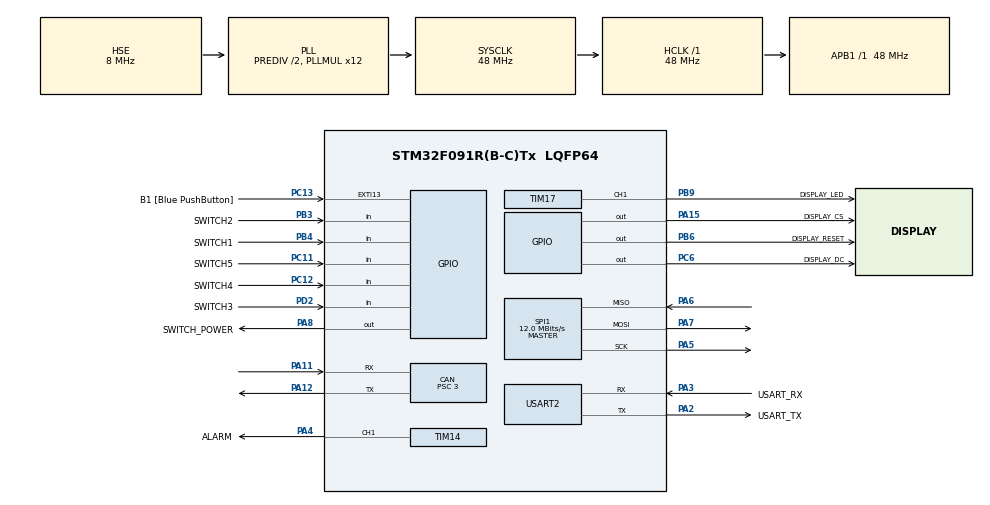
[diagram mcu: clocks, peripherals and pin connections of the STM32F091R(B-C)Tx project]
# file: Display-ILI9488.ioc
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CAN.BS1=CAN_BS1_11TQ
CAN.BS2=CAN_BS2_4TQ
CAN.CalculateBaudRate=1000000
CAN.CalculateTimeBit=1000
CAN.CalculateTimeQuantum=62.5
CAN.NART=ENABLE
CAN.Prescaler=3
CAN.SJW=CAN_SJW_2TQ
Dma.Request0=USART2_RX
Dma.Request1=SPI1_TX
Dma.SPI1_TX.1.Direction=DMA_MEMORY_TO_PERIPH
Dma.SPI1_TX.1.Instance=DMA1_Channel3
Dma.SPI1_TX.1.MemDataAlignment=DMA_MDATAALIGN_BYTE
Dma.SPI1_TX.1.MemInc=DMA_MINC_ENABLE
Dma.SPI1_TX.1.Mode=DMA_NORMAL
Dma.SPI1_TX.1.PeriphDataAlignment=DMA_PDATAALIGN_BYTE
Dma.SPI1_TX.1.PeriphInc=DMA_PINC_DISABLE
Dma.SPI1_TX.1.Priority=DMA_PRIORITY_LOW
Dma.USART2_RX.0.Direction=DMA_PERIPH_TO_MEMORY
Dma.USART2_RX.0.Instance=DMA1_Channel1
Dma.USART2_RX.0.MemDataAlignment=DMA_MDATAALIGN_BYTE
Dma.USART2_RX.0.MemInc=DMA_MINC_ENABLE
Dma.USART2_RX.0.Mode=DMA_NORMAL
Dma.USART2_RX.0.PeriphDataAlignment=DMA_PDATAALIGN_BYTE
Dma.USART2_RX.0.PeriphInc=DMA_PINC_DISABLE
Dma.USART2_RX.0.Priority=DMA_PRIORITY_LOW
Mcu.Family=STM32F0
Mcu.Name=STM32F091R(B-C)Tx
Mcu.Package=LQFP64
NVIC.CEC_CAN_IRQn=true\:0\:0\:false\:false\:true\:true\:true\:true
NVIC.DMA1_Ch1_IRQn=true\:0\:0\:false\:false\:true\:false\:true\:true
NVIC.DMA1_Ch2_3_DMA2_Ch1_2_IRQn=true\:0\:0\:false\:false\:true\:false\:true\:true
NVIC.TIM2_IRQn=true\:0\:0\:false\:false\:true\:true\:true\:true
NVIC.USART2_IRQn=true\:0\:0\:false\:false\:true\:true\:true\:true
PA11.Mode=CAN_Activate
PA11.Signal=CAN_RX
PA12.Mode=CAN_Activate
PA12.Signal=CAN_TX
PA13.GPIO_Label=TMS
PA13.Mode=Serial_Wire
PA13.Signal=SYS_SWDIO
PA14.GPIO_Label=TCK
PA14.Mode=Serial_Wire
PA14.Signal=SYS_SWCLK
PA15.GPIO_Label=DISPLAY_CS
PA15.Signal=GPIO_Output
PA2.GPIO_Label=USART_TX
PA2.GPIO_Mode=GPIO_MODE_AF_PP
PA2.GPIO_PuPd=GPIO_NOPULL
PA2.GPIO_Speed=GPIO_SPEED_FREQ_LOW
PA2.Mode=Asynchronous
PA2.Signal=USART2_TX
PA3.GPIO_Label=USART_RX
PA3.GPIO_Mode=GPIO_MODE_AF_PP
PA3.GPIO_PuPd=GPIO_NOPULL
PA3.GPIO_Speed=GPIO_SPEED_FREQ_LOW
PA3.Mode=Asynchronous
PA3.Signal=USART2_RX
PA4.GPIO_Label=ALARM
PA4.Signal=S_TIM14_CH1
PA5.Mode=Full_Duplex_Master
PA5.Signal=SPI1_SCK
PA6.Mode=Full_Duplex_Master
PA6.Signal=SPI1_MISO
PA7.Mode=Full_Duplex_Master
PA7.Signal=SPI1_MOSI
PA8.GPIO_Label=SWITCH_POWER
PA8.Signal=GPIO_Output
PB3.GPIO_Label=SWITCH2
PB3.Signal=GPIO_Input
PB4.GPIO_Label=SWITCH1
PB4.Signal=GPIO_Input
PB6.GPIO_Label=DISPLAY_RESET
PB6.Signal=GPIO_Output
PB9.GPIO_Label=DISPLAY_LED
PB9.Signal=S_TIM17_CH1
PC11.GPIO_Label=SWITCH5
PC11.Signal=GPIO_Input
PC12.GPIO_Label=SWITCH4
PC12.Signal=GPIO_Input
PC13.GPIO_Label=B1 [Blue PushButton]
PC13.GPIO_ModeDefaultEXTI=GPIO_MODE_IT_FALLING
PC13.Signal=GPXTI13
PC14OSC32_IN.Mode=LSE-External-Oscillator
PC14OSC32_IN.Signal=RCC_OSC32_IN
PC15OSC32_OUT.Mode=LSE-External-Oscillator
PC15OSC32_OUT.Signal=RCC_OSC32_OUT
PC6.GPIO_Label=DISPLAY_DC
PC6.Signal=GPIO_Output
PD2.GPIO_Label=SWITCH3
PD2.Signal=GPIO_Input
PF0-OSC_IN.Mode=HSE-External-Clock-Source
PF0-OSC_IN.Signal=RCC_OSC_IN
PF1-OSC_OUT.Signal=RCC_OSC_OUT
ProjectManager.HeapSize=0x200
ProjectManager.StackSize=0x400
ProjectManager.TargetToolchain=STM32CubeIDE
RCC.AHBFreq_Value=48000000
RCC.APB1Freq_Value=48000000
RCC.APB1TimFreq_Value=48000000
RCC.FLatency-AdvancedSettings=FLASH_LATENCY_1
RCC.HCLKFreq_Value=48000000
RCC.PLLDivider=RCC_PREDIV_DIV2
RCC.PLLMUL=RCC_PLL_MUL12
RCC.PLLSourceVirtual=RCC_PLLSOURCE_HSE
RCC.PREFETCH_ENABLE-AdvancedSettings=1
RCC.SYSCLKFreq_VALUE=48000000
RCC.SYSCLKSource=RCC_SYSCLKSOURCE_PLLCLK
SH.S_TIM14_CH1.0=TIM14_CH1,PWM Generation1 CH1
SH.S_TIM17_CH1.0=TIM17_CH1,PWM Generation1 CH1
SPI1.BaudRatePrescaler=SPI_BAUDRATEPRESCALER_4
SPI1.CalculateBaudRate=12.0 MBits/s
SPI1.DataSize=SPI_DATASIZE_8BIT
SPI1.Direction=SPI_DIRECTION_2LINES
SPI1.Mode=SPI_MODE_MASTER
SPI1.VirtualType=VM_MASTER
TIM14.Channel=TIM_CHANNEL_1
TIM14.Period=3332
TIM14.Prescaler=0
TIM14.Pulse=1667
TIM17.Channel=TIM_CHANNEL_1
TIM17.Period=255
TIM17.Prescaler=39
TIM17.Pulse=128
TIM2.AutoReloadPreload=TIM_AUTORELOAD_PRELOAD_ENABLE
TIM2.Period=99
TIM2.Prescaler=47999
USART2.VirtualMode=VM_ASYNC
USART2.VirtualMode-Asynchronous=VM_ASYNC
VP_TIM14_VS_ClockSourceINT.Mode=Enable_Timer
VP_TIM17_VS_ClockSourceINT.Mode=Enable_Timer
VP_TIM2_VS_ClockSourceINT.Mode=Internal
board=NUCLEO-F091RC

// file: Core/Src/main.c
/* USER CODE BEGIN Header */
/**
 ******************************************************************************
 * @file           : main.c
 * @brief          : Main program body
 ******************************************************************************
 * @attention
 *
 * Copyright (c) 2026 STMicroelectronics.
 * All rights reserved.
 *
 * This software is licensed under terms that can be found in the LICENSE file
 * in the root directory of this software component.
 * If no LICENSE file comes with this software, it is provided AS-IS.
 *
 ******************************************************************************
 */
/* USER CODE END Header */
#include "main.h"

/* USER CODE BEGIN Includes */
#include "File_002_ObjNum_001_NEW_6_17_26.h"
#include "File_005_ObjNum_004_480x320_6_18_26.h"
#include "File_006_ObjNum_005_480x320_6_18_26_C.h"
#include "File_007_ObjNum_006_480x320_6_18_26.h"
#include "File_008_ObjNum_007_96x190_6_18_26.h"
#include "File_009_ObjNum_008_96x190_6_18_26.h"
#include "File_010_ObjNum_009_96x190_6_18_26.h"
#include "File_011_ObjNum_010_96x190_6_18_26.h"
#include "File_012_ObjNum_011_96x190_6_18_26.h"
#include "File_013_ObjNum_012_96x190_6_18_26.h"
#include "File_014_ObjNum_013_96x190_6_18_26.h"
#include "File_015_ObjNum_014_96x190_6_18_26.h"
#include "File_016_ObjNum_015_96x190_6_18_26.h"
#include "File_017_ObjNum_016_96x190_6_18_26.h"
#include "File_018_ObjNum_017_96x190_6_16_26.h"
#include "File_019_ObjNum_018_48x208_6_19_26.h"
#include "File_020_ObjNum_019_48x208_6_19_26.h"
#include "File_021_ObjNum_020_48x208_6_19_26.h"
#include "File_022_ObjNum_021_48x208_6_19_26.h"
#include "File_023_ObjNum_022_48x208_6_19_26.h"
#include "File_024_ObjNum_023_48x208_6_19_26.h"
#include "File_025_ObjNum_024_48x208_6_19_26.h"
#include "File_026_ObjNum_025_48x208_6_19_26.h"
#include "File_027_ObjNum_026_48x208_6_19_26.h"
#include "File_028_ObjNum_027_48x208_6_19_26.h"
#include "File_029_ObjNum_028_48x208_6_19_26.h"
#include "File_030_ObjNum_029_64x25_6_19_26.h"
#include "File_031_ObjNum_030_64x25_6_19_26.h"
#include "File_032_ObjNum_031_96x190_6_19_26.h"
#include "File_033_ObjNum_032_96x190_6_19_26.h"
#include "File_034_ObjNum_033_96x190_6_19_26.h"
#include "File_035_ObjNum_034_96x190_6_19_26.h"
#include "File_036_ObjNum_035_96x190_6_19_26.h"
#include "File_037_ObjNum_036_96x190_6_19_26.h"
#include "File_038_ObjNum_037_96x190_6_19_26.h"
#include "File_039_ObjNum_038_96x190_6_19_26.h"
#include "File_040_ObjNum_039_96x190_6_19_26.h"
#include "File_041_ObjNum_040_96x190_6_19_26.h"
#include "File_042_ObjNum_041_96x190_6_19_26.h"
#include "File_043_ObjNum_042_144x208_6_19_26.h"
#include "File_044_ObjNum_043_144x208_6_19_26.h"
#include "File_045_ObjNum_044_144x208_6_19_26.h"
#include "File_046_ObjNum_045_144x208_6_19_26.h"
#include "File_047_ObjNum_046_144x208_6_19_26.h"
#include "File_048_ObjNum_052_144x183_6_19_26.h"
#include "File_049_ObjNum_053_144x183_6_19_26.h"
#include "File_050_ObjNum_054_144x183_6_19_26.h"
#include "File_051_ObjNum_055_144x183_6_19_26.h"
#include "File_052_ObjNum_057_144x30_6_19_26.h"
#include "File_053_ObjNum_077_48x30_6_19_26.h"
#include "File_054_ObjNum_087_48x255_6_19_26.h"
#include "File_055_ObjNum_090_480x320_6_18_26.h"
#include "File_056_ObjNum_091_480x320_6_18_26.h"
#include "File_057_ObjNum_092_480x320_6_18_26.h"
#include "File_058_ObjNum_093_480x320_6_18_26.h"
#include "File_059_ObjNum_094_480x320_6_18_26.h"
#include "File_062_ObjNum_097_480x40_6_19_26.h"
#include "File_063_ObjNum_098_176x33_6_19_26.h"
#include "File_064_ObjNum_099_48x63_6_19_26.h"
#include "File_065_ObjNum_104_16x30_6_19_26.h"
#include "File_066_ObjNum_109_96x80_6_19_26.h"
#include "File_067_ObjNum_114_64x103_6_19_26.h"
#include "File_068_ObjNum_119_64x103_6_19_26.h"
#include "File_069_ObjNum_124_64x103_6_19_26.h"
#include "File_070_ObjNum_129_96x80_6_19_26.h"
#include "File_071_ObjNum_134_176x188_6_19_26.h"
#include "File_072_ObjNum_135_480x320_6_18_26.h"
#include "File_073_ObjNum_136_480x320_6_18_26.h"
#include "File_074_ObjNum_138_48x143_6_19_26.h"
#include "File_075_ObjNum_140_368x40_6_19_26.h"
#include "File_076_ObjNum_143_368x40_6_19_26.h"
#include "File_077_ObjNum_147_480x320_6_18_26.h"
#include "File_078_ObjNum_148_480x320_6_18_26.h"
#include "File_079_ObjNum_149_480x320_6_17_26.h"
#include "SYSFAIL_480x320.h"
#include "alarm.h"
#include "commands-can.h"
#include "commands-usart.h"
#include "display-ili9488.h"
#include "font.h"
#include "stm32f0xx_hal.h"
#include "stm32f0xx_hal_tim.h"
#include "switches.h"

/* USER CODE END Includes */

CAN_HandleTypeDef hcan;

SPI_HandleTypeDef hspi1;
DMA_HandleTypeDef hdma_spi1_tx;

TIM_HandleTypeDef htim2;
TIM_HandleTypeDef htim14;
TIM_HandleTypeDef htim17;

UART_HandleTypeDef huart2;
DMA_HandleTypeDef hdma_usart2_rx;

void SystemClock_Config(void);
static void MX_GPIO_Init(void);
static void MX_DMA_Init(void);
static void MX_USART2_UART_Init(void);
static void MX_SPI1_Init(void);
static void MX_CAN_Init(void);
static void MX_TIM2_Init(void);
static void MX_TIM14_Init(void);
static void MX_TIM17_Init(void);

int main(void)
{

  /* MCU Configuration--------------------------------------------------------*/

  /* Reset of all peripherals, Initializes the Flash interface and the Systick. */
  HAL_Init();

  /* Configure the system clock */
  SystemClock_Config();

  /* Initialize all configured peripherals */
  MX_GPIO_Init();
  MX_DMA_Init();
  MX_USART2_UART_Init();
  MX_SPI1_Init();
  MX_CAN_Init();
  MX_TIM2_Init();
  MX_TIM14_Init();
  MX_TIM17_Init();
  /* USER CODE BEGIN 2 */
  HAL_UART_Transmit_IT(&huart2,
                       (uint8_t *)"Configured peripherals, system clock, and "
                                  "HAL layer initialized\n",
                       64);

  // starting alarm pwm timer
  HAL_TIM_PWM_Start(&htim14, TIM_CHANNEL_1);

  ALARM_Disable(&htim14);

  HAL_UART_Transmit_IT(&huart2, (uint8_t *)"Alarm PWM timer started\n", 25);

  // initializing display
  ILI9488_Init(&hspi1, &htim17);

  HAL_UART_Transmit_IT(&huart2, (uint8_t *)"Display initialized\n", 20);

  // initializing commands
  UART_CMDS_Init(&huart2, &hspi1);

  HAL_UART_Transmit_IT(&huart2, (uint8_t *)"UART commands initialized\n", 26);

  // initializing can interface
  CAN_CMDS_Init(&hcan, &hspi1, &huart2, &htim14, &htim17);

  HAL_UART_Transmit_IT(&huart2, (uint8_t *)"CAN protocol initialized\n", 25);

  // starting timer for switches interrupt
  HAL_TIM_Base_Start_IT(&htim2);

  HAL_UART_Transmit_IT(&huart2, (uint8_t *)"Switches interrupt enabled\n", 27);

  HAL_UART_Transmit_IT(
      &huart2, (uint8_t *)"Successfully initialized all interfaces\n", 40);

  // --- debugging ---
  ILI9488_SetBackground(&File_006_ObjNum_005_480x320_6_18_26_C);

  ILI9488_LoadImage(&hspi1, 0, 0, &File_006_ObjNum_005_480x320_6_18_26_C, true,
                    false, false);

  ILI9488_LoadText(&hspi1, 0, 0, "hi :P ksdfj ajd", 15, font, FONTSIZE,
                   CHARWIDTH, CHARHEIGHT, true, false, true);

  ILI9488_LoadText(&hspi1, 0, 50, "hi :P ksdfj laksjadsflkjajd", 25, font, FONTSIZE,
                   CHARWIDTH, CHARHEIGHT, true, false, true);

  ILI9488_LoadText(&hspi1, 0, 100, "hi :P ksdfj ajd", 15, font, FONTSIZE,
                   CHARWIDTH, CHARHEIGHT, true, false, true);

  ILI9488_LoadText(&hspi1, 0, 150, "hi :P ksdfj ajd", 15, font, FONTSIZE,
                   CHARWIDTH, CHARHEIGHT, true, false, true);

  ILI9488_LoadImage(&hspi1, 64, 69, &File_043_ObjNum_042_144x208_6_19_26, false,
                    true, false);

  ILI9488_Draw(&hspi1);

  HAL_SPIN(ILI9488_Refresh(&hspi1));

  /* USER CODE END 2 */

  /* Infinite loop */
  while (1) {

    /* USER CODE BEGIN 3 */
    // process recieved can commands
    CAN_CMDS_Process();

    // processing switch input
    SWITCHES_Process(&hcan);
  }
  /* USER CODE END 3 */
}

void SystemClock_Config(void)
{
  RCC_OscInitTypeDef RCC_OscInitStruct = {0};
  RCC_ClkInitTypeDef RCC_ClkInitStruct = {0};
  RCC_PeriphCLKInitTypeDef PeriphClkInit = {0};

  /** Initializes the RCC Oscillators according to the specified parameters
  * in the RCC_OscInitTypeDef structure.
  */
  RCC_OscInitStruct.OscillatorType = RCC_OSCILLATORTYPE_HSE;
  RCC_OscInitStruct.HSEState = RCC_HSE_BYPASS;
  RCC_OscInitStruct.PLL.PLLState = RCC_PLL_ON;
  RCC_OscInitStruct.PLL.PLLSource = RCC_PLLSOURCE_HSE;
  RCC_OscInitStruct.PLL.PLLMUL = RCC_PLL_MUL12;
  RCC_OscInitStruct.PLL.PREDIV = RCC_PREDIV_DIV2;
  if (HAL_RCC_OscConfig(&RCC_OscInitStruct) != HAL_OK)
  {
    Error_Handler();
  }

  /** Initializes the CPU, AHB and APB buses clocks
  */
  RCC_ClkInitStruct.ClockType = RCC_CLOCKTYPE_HCLK|RCC_CLOCKTYPE_SYSCLK
                              |RCC_CLOCKTYPE_PCLK1;
  RCC_ClkInitStruct.SYSCLKSource = RCC_SYSCLKSOURCE_PLLCLK;
  RCC_ClkInitStruct.AHBCLKDivider = RCC_SYSCLK_DIV1;
  RCC_ClkInitStruct.APB1CLKDivider = RCC_HCLK_DIV1;

  if (HAL_RCC_ClockConfig(&RCC_ClkInitStruct, FLASH_LATENCY_1) != HAL_OK)
  {
    Error_Handler();
  }
  PeriphClkInit.PeriphClockSelection = RCC_PERIPHCLK_USART2;
  PeriphClkInit.Usart2ClockSelection = RCC_USART2CLKSOURCE_PCLK1;
  if (HAL_RCCEx_PeriphCLKConfig(&PeriphClkInit) != HAL_OK)
  {
    Error_Handler();
  }
}

static void MX_CAN_Init(void)
{

  hcan.Instance = CAN;
  hcan.Init.Prescaler = 3;
  hcan.Init.Mode = CAN_MODE_NORMAL;
  hcan.Init.SyncJumpWidth = CAN_SJW_2TQ;
  hcan.Init.TimeSeg1 = CAN_BS1_11TQ;
  hcan.Init.TimeSeg2 = CAN_BS2_4TQ;
  hcan.Init.TimeTriggeredMode = DISABLE;
  hcan.Init.AutoBusOff = DISABLE;
  hcan.Init.AutoWakeUp = DISABLE;
  hcan.Init.AutoRetransmission = ENABLE;
  hcan.Init.ReceiveFifoLocked = DISABLE;
  hcan.Init.TransmitFifoPriority = DISABLE;
  if (HAL_CAN_Init(&hcan) != HAL_OK)
  {
    Error_Handler();
  }

}

static void MX_SPI1_Init(void)
{

  /* SPI1 parameter configuration*/
  hspi1.Instance = SPI1;
  hspi1.Init.Mode = SPI_MODE_MASTER;
  hspi1.Init.Direction = SPI_DIRECTION_2LINES;
  hspi1.Init.DataSize = SPI_DATASIZE_8BIT;
  hspi1.Init.CLKPolarity = SPI_POLARITY_LOW;
  hspi1.Init.CLKPhase = SPI_PHASE_1EDGE;
  hspi1.Init.NSS = SPI_NSS_SOFT;
  hspi1.Init.BaudRatePrescaler = SPI_BAUDRATEPRESCALER_4;
  hspi1.Init.FirstBit = SPI_FIRSTBIT_MSB;
  hspi1.Init.TIMode = SPI_TIMODE_DISABLE;
  hspi1.Init.CRCCalculation = SPI_CRCCALCULATION_DISABLE;
  hspi1.Init.CRCPolynomial = 7;
  hspi1.Init.CRCLength = SPI_CRC_LENGTH_DATASIZE;
  hspi1.Init.NSSPMode = SPI_NSS_PULSE_ENABLE;
  if (HAL_SPI_Init(&hspi1) != HAL_OK)
  {
    Error_Handler();
  }

}

static void MX_TIM2_Init(void)
{

  TIM_ClockConfigTypeDef sClockSourceConfig = {0};
  TIM_MasterConfigTypeDef sMasterConfig = {0};

  htim2.Instance = TIM2;
  htim2.Init.Prescaler = 47999;
  htim2.Init.CounterMode = TIM_COUNTERMODE_UP;
  htim2.Init.Period = 99;
  htim2.Init.ClockDivision = TIM_CLOCKDIVISION_DIV1;
  htim2.Init.AutoReloadPreload = TIM_AUTORELOAD_PRELOAD_ENABLE;
  if (HAL_TIM_Base_Init(&htim2) != HAL_OK)
  {
    Error_Handler();
  }
  sClockSourceConfig.ClockSource = TIM_CLOCKSOURCE_INTERNAL;
  if (HAL_TIM_ConfigClockSource(&htim2, &sClockSourceConfig) != HAL_OK)
  {
    Error_Handler();
  }
  sMasterConfig.MasterOutputTrigger = TIM_TRGO_RESET;
  sMasterConfig.MasterSlaveMode = TIM_MASTERSLAVEMODE_DISABLE;
  if (HAL_TIMEx_MasterConfigSynchronization(&htim2, &sMasterConfig) != HAL_OK)
  {
    Error_Handler();
  }

}

static void MX_TIM14_Init(void)
{

  TIM_OC_InitTypeDef sConfigOC = {0};

  htim14.Instance = TIM14;
  htim14.Init.Prescaler = 0;
  htim14.Init.CounterMode = TIM_COUNTERMODE_UP;
  htim14.Init.Period = 3332;
  htim14.Init.ClockDivision = TIM_CLOCKDIVISION_DIV1;
  htim14.Init.AutoReloadPreload = TIM_AUTORELOAD_PRELOAD_DISABLE;
  if (HAL_TIM_Base_Init(&htim14) != HAL_OK)
  {
    Error_Handler();
  }
  if (HAL_TIM_PWM_Init(&htim14) != HAL_OK)
  {
    Error_Handler();
  }
  sConfigOC.OCMode = TIM_OCMODE_PWM1;
  sConfigOC.Pulse = 1667;
  sConfigOC.OCPolarity = TIM_OCPOLARITY_HIGH;
  sConfigOC.OCFastMode = TIM_OCFAST_DISABLE;
  if (HAL_TIM_PWM_ConfigChannel(&htim14, &sConfigOC, TIM_CHANNEL_1) != HAL_OK)
  {
    Error_Handler();
  }
  HAL_TIM_MspPostInit(&htim14);

}

static void MX_TIM17_Init(void)
{

  TIM_OC_InitTypeDef sConfigOC = {0};
  TIM_BreakDeadTimeConfigTypeDef sBreakDeadTimeConfig = {0};

  htim17.Instance = TIM17;
  htim17.Init.Prescaler = 39;
  htim17.Init.CounterMode = TIM_COUNTERMODE_UP;
  htim17.Init.Period = 255;
  htim17.Init.ClockDivision = TIM_CLOCKDIVISION_DIV1;
  htim17.Init.RepetitionCounter = 0;
  htim17.Init.AutoReloadPreload = TIM_AUTORELOAD_PRELOAD_DISABLE;
  if (HAL_TIM_Base_Init(&htim17) != HAL_OK)
  {
    Error_Handler();
  }
  if (HAL_TIM_PWM_Init(&htim17) != HAL_OK)
  {
    Error_Handler();
  }
  sConfigOC.OCMode = TIM_OCMODE_PWM1;
  sConfigOC.Pulse = 128;
  sConfigOC.OCPolarity = TIM_OCPOLARITY_HIGH;
  sConfigOC.OCNPolarity = TIM_OCNPOLARITY_HIGH;
  sConfigOC.OCFastMode = TIM_OCFAST_DISABLE;
  sConfigOC.OCIdleState = TIM_OCIDLESTATE_RESET;
  sConfigOC.OCNIdleState = TIM_OCNIDLESTATE_RESET;
  if (HAL_TIM_PWM_ConfigChannel(&htim17, &sConfigOC, TIM_CHANNEL_1) != HAL_OK)
  {
    Error_Handler();
  }
  sBreakDeadTimeConfig.OffStateRunMode = TIM_OSSR_DISABLE;
  sBreakDeadTimeConfig.OffStateIDLEMode = TIM_OSSI_DISABLE;
  sBreakDeadTimeConfig.LockLevel = TIM_LOCKLEVEL_OFF;
  sBreakDeadTimeConfig.DeadTime = 0;
  sBreakDeadTimeConfig.BreakState = TIM_BREAK_DISABLE;
  sBreakDeadTimeConfig.BreakPolarity = TIM_BREAKPOLARITY_HIGH;
  sBreakDeadTimeConfig.AutomaticOutput = TIM_AUTOMATICOUTPUT_DISABLE;
  if (HAL_TIMEx_ConfigBreakDeadTime(&htim17, &sBreakDeadTimeConfig) != HAL_OK)
  {
    Error_Handler();
  }
  HAL_TIM_MspPostInit(&htim17);

}

static void MX_USART2_UART_Init(void)
{

  huart2.Instance = USART2;
  huart2.Init.BaudRate = 115200;
  huart2.Init.WordLength = UART_WORDLENGTH_8B;
  huart2.Init.StopBits = UART_STOPBITS_1;
  huart2.Init.Parity = UART_PARITY_NONE;
  huart2.Init.Mode = UART_MODE_TX_RX;
  huart2.Init.HwFlowCtl = UART_HWCONTROL_NONE;
  huart2.Init.OverSampling = UART_OVERSAMPLING_16;
  huart2.Init.OneBitSampling = UART_ONE_BIT_SAMPLE_DISABLE;
  huart2.AdvancedInit.AdvFeatureInit = UART_ADVFEATURE_NO_INIT;
  if (HAL_UART_Init(&huart2) != HAL_OK)
  {
    Error_Handler();
  }

}

static void MX_DMA_Init(void)
{

  /* DMA controller clock enable */
  __HAL_RCC_DMA1_CLK_ENABLE();

  /* DMA interrupt init */
  /* DMA1_Ch1_IRQn interrupt configuration */
  HAL_NVIC_SetPriority(DMA1_Ch1_IRQn, 0, 0);
  HAL_NVIC_EnableIRQ(DMA1_Ch1_IRQn);
  /* DMA1_Ch2_3_DMA2_Ch1_2_IRQn interrupt configuration */
  HAL_NVIC_SetPriority(DMA1_Ch2_3_DMA2_Ch1_2_IRQn, 0, 0);
  HAL_NVIC_EnableIRQ(DMA1_Ch2_3_DMA2_Ch1_2_IRQn);

}

static void MX_GPIO_Init(void)
{
  GPIO_InitTypeDef GPIO_InitStruct = {0};

  /* GPIO Ports Clock Enable */
  __HAL_RCC_GPIOC_CLK_ENABLE();
  __HAL_RCC_GPIOF_CLK_ENABLE();
  __HAL_RCC_GPIOA_CLK_ENABLE();
  __HAL_RCC_GPIOD_CLK_ENABLE();
  __HAL_RCC_GPIOB_CLK_ENABLE();

  /*Configure GPIO pin Output Level */
  HAL_GPIO_WritePin(DISPLAY_DC_GPIO_Port, DISPLAY_DC_Pin, GPIO_PIN_RESET);

  /*Configure GPIO pin Output Level */
  HAL_GPIO_WritePin(GPIOA, SWITCH_POWER_Pin|DISPLAY_CS_Pin, GPIO_PIN_RESET);

  /*Configure GPIO pin Output Level */
  HAL_GPIO_WritePin(DISPLAY_RESET_GPIO_Port, DISPLAY_RESET_Pin, GPIO_PIN_RESET);

  /*Configure GPIO pin : B1_Pin */
  GPIO_InitStruct.Pin = B1_Pin;
  GPIO_InitStruct.Mode = GPIO_MODE_IT_FALLING;
  GPIO_InitStruct.Pull = GPIO_NOPULL;
  HAL_GPIO_Init(B1_GPIO_Port, &GPIO_InitStruct);

  /*Configure GPIO pin : DISPLAY_DC_Pin */
  GPIO_InitStruct.Pin = DISPLAY_DC_Pin;
  GPIO_InitStruct.Mode = GPIO_MODE_OUTPUT_PP;
  GPIO_InitStruct.Pull = GPIO_NOPULL;
  GPIO_InitStruct.Speed = GPIO_SPEED_FREQ_LOW;
  HAL_GPIO_Init(DISPLAY_DC_GPIO_Port, &GPIO_InitStruct);

  /*Configure GPIO pins : SWITCH_POWER_Pin DISPLAY_CS_Pin */
  GPIO_InitStruct.Pin = SWITCH_POWER_Pin|DISPLAY_CS_Pin;
  GPIO_InitStruct.Mode = GPIO_MODE_OUTPUT_PP;
  GPIO_InitStruct.Pull = GPIO_NOPULL;
  GPIO_InitStruct.Speed = GPIO_SPEED_FREQ_LOW;
  HAL_GPIO_Init(GPIOA, &GPIO_InitStruct);

  /*Configure GPIO pins : SWITCH5_Pin SWITCH4_Pin */
  GPIO_InitStruct.Pin = SWITCH5_Pin|SWITCH4_Pin;
  GPIO_InitStruct.Mode = GPIO_MODE_INPUT;
  GPIO_InitStruct.Pull = GPIO_NOPULL;
  HAL_GPIO_Init(GPIOC, &GPIO_InitStruct);

  /*Configure GPIO pin : SWITCH3_Pin */
  GPIO_InitStruct.Pin = SWITCH3_Pin;
  GPIO_InitStruct.Mode = GPIO_MODE_INPUT;
  GPIO_InitStruct.Pull = GPIO_NOPULL;
  HAL_GPIO_Init(SWITCH3_GPIO_Port, &GPIO_InitStruct);

  /*Configure GPIO pins : SWITCH2_Pin SWITCH1_Pin */
  GPIO_InitStruct.Pin = SWITCH2_Pin|SWITCH1_Pin;
  GPIO_InitStruct.Mode = GPIO_MODE_INPUT;
  GPIO_InitStruct.Pull = GPIO_NOPULL;
  HAL_GPIO_Init(GPIOB, &GPIO_InitStruct);

  /*Configure GPIO pin : DISPLAY_RESET_Pin */
  GPIO_InitStruct.Pin = DISPLAY_RESET_Pin;
  GPIO_InitStruct.Mode = GPIO_MODE_OUTPUT_PP;
  GPIO_InitStruct.Pull = GPIO_NOPULL;
  GPIO_InitStruct.Speed = GPIO_SPEED_FREQ_LOW;
  HAL_GPIO_Init(DISPLAY_RESET_GPIO_Port, &GPIO_InitStruct);

}

void Error_Handler(void)
{
  __disable_irq();
  while (1) {
  }
}
#ifdef USE_FULL_ASSERT
/**
  * @brief  Reports the name of the source file and the source line number
  *         where the assert_param error has occurred.
  * @param  file: pointer to the source file name
  * @param  line: assert_param error line source number
  * @retval None
  */
void assert_failed(uint8_t *file, uint32_t line)
{
  /* USER CODE BEGIN 6 */
  /* User can add his own implementation to report the file name and line
     number, ex: printf("Wrong parameters value: file %s on line %d\r\n", file,
     line) */
  /* USER CODE END 6 */
}
#endif /* USE_FULL_ASSERT */
